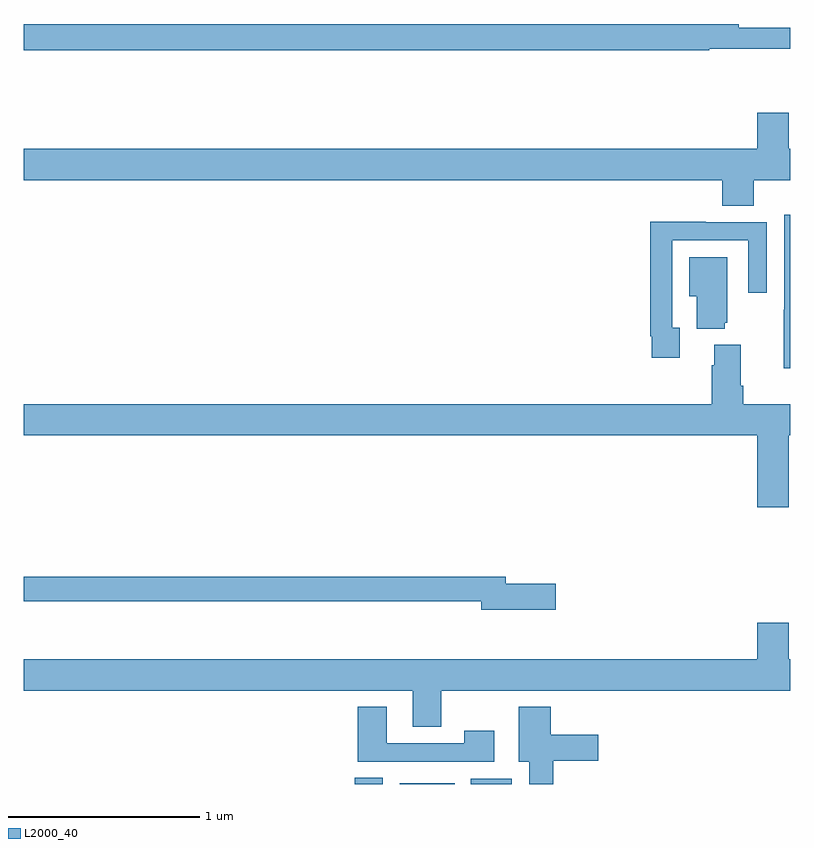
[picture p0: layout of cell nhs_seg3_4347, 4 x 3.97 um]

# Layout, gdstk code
import gdstk
lib = gdstk.Library(unit=1e-6, precision=1e-09)
def R(c, l, rs):  # rectangles x0, y0, x1, y1
    for r in rs: c.add(gdstk.rectangle(r[:2], r[2:], *l))
def P(c, l, *ps):  # polygons
    for p in ps: c.add(gdstk.Polygon(p, *l))
L2000_40 = (2000, 40)

nhs_seg3_4347 = lib.new_cell('nhs_seg3_4347')
R(nhs_seg3_4347, L2000_40, [(342.728,728.4,342.874,728.432), (342.962,728.4,343.249,728.404), (343.334,728.4,343.546,728.428)])
P(nhs_seg3_4347, L2000_40, [(344.578,732.24),(345,732.24),(345,732.349),(344.732,732.349),(344.732,732.368),(341,732.368),(341,732.232),(344.578,732.232)],
  [(344.81,731.552),(345,731.552),(345,731.716),(344.992,731.716),(344.992,731.905),(344.828,731.905),(344.828,731.716),(341,731.716),(341,731.552),(344.645,731.552),(344.645,731.419),(344.81,731.419)],
  [(345,731.371),(344.97,731.371),(344.97,730.877),(344.968,730.877),(344.968,730.571),(345,730.571)],
  [(344.425,730.782),(344.385,730.782),(344.385,731.238),(344.781,731.238),(344.781,730.965),(344.877,730.965),(344.877,731.334),(344.561,731.334),(344.561,731.336),(344.269,731.336),(344.269,730.738),(344.277,730.738),(344.277,730.626),(344.425,730.626)],
  [(344.66,730.809),(344.671,730.809),(344.671,731.149),(344.474,731.149),(344.474,730.946),(344.513,730.946),(344.513,730.778),(344.66,730.778)],
  [(344.992,730.22),(345,730.22),(345,730.384),(344.756,730.384),(344.756,730.48),(344.743,730.48),(344.743,730.693),(344.603,730.693),(344.603,730.586),(344.591,730.586),(344.591,730.384),(341,730.384),(341,730.22),(344.828,730.22),(344.828,729.846),(344.992,729.846)],
  [(343.777,729.446),(343.516,729.446),(343.516,729.482),(341,729.482),(341,729.354),(343.388,729.354),(343.388,729.311),(343.777,729.311)],
  [(343.179,728.888),(345,728.888),(345,729.052),(344.992,729.052),(344.992,729.241),(344.828,729.241),(344.828,729.052),(341,729.052),(341,728.888),(343.031,728.888),(343.031,728.698),(343.179,728.698)],
  [(343.763,728.522),(343.999,728.522),(343.999,728.656),(343.75,728.656),(343.75,728.803),(343.583,728.803),(343.583,728.516),(343.637,728.516),(343.637,728.4),(343.763,728.4)],
  [(343.456,728.677),(343.3,728.677),(343.3,728.613),(342.895,728.613),(342.895,728.803),(342.743,728.803),(342.743,728.517),(343.456,728.517)])

lib.write_gds('nhs_seg3_4347.gds')
